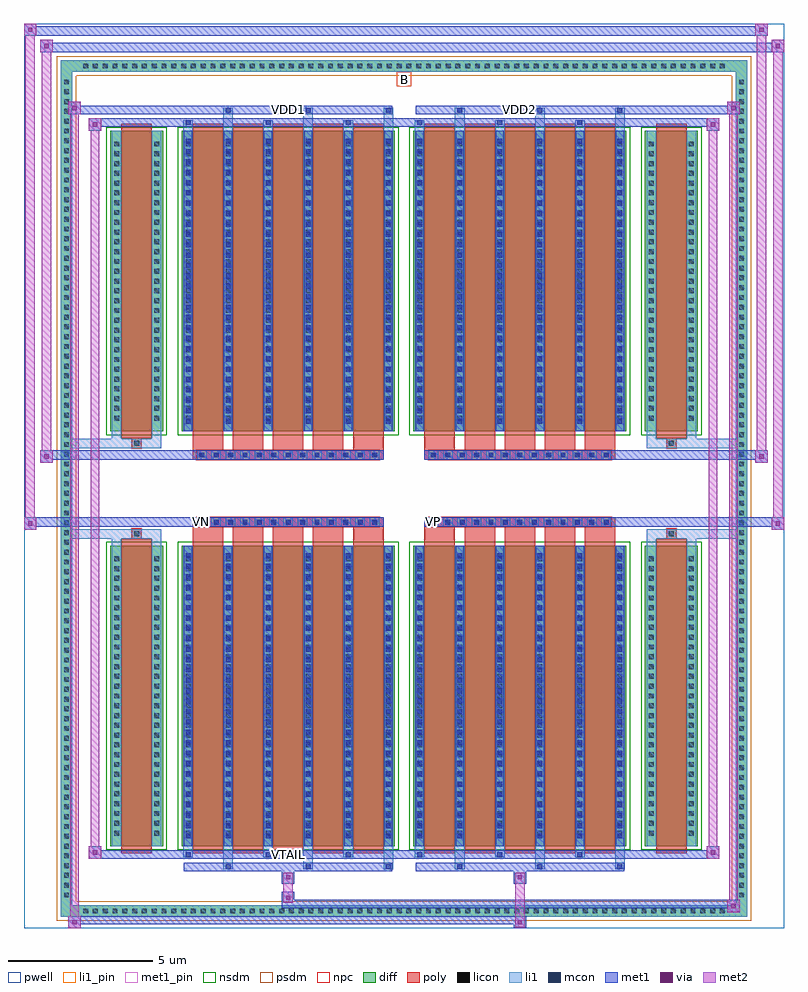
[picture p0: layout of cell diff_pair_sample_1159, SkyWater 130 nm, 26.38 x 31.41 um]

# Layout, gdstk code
import gdstk
lib = gdstk.Library(unit=1e-6, precision=5e-09)
def R(c, l, rs):  # rectangles x0, y0, x1, y1
    for r in rs: c.add(gdstk.rectangle(r[:2], r[2:], *l))
def A(c, l, x, y, w, h, nx, ny, dx, dy):  # array of equal rectangles
    R(c, l, [(x+i*dx, y+j*dy, x+i*dx+w, y+j*dy+h) for i in range(nx) for j in range(ny)])
def P(c, l, *ps):  # polygons
    for p in ps: c.add(gdstk.Polygon(p, *l))
pwell = (64, 44)
diff = (65, 20)
poly = (66, 20)
licon = (66, 44)
li1_pin = (67, 16)
li1 = (67, 20)
mcon = (67, 44)
met1_pin = (68, 16)
met1 = (68, 20)
via = (68, 44)
met2 = (69, 20)
nsdm = (93, 44)
psdm = (94, 20)
npc = (95, 20)

diff_pair_sample_1159 = lib.new_cell('diff_pair_sample_1159')
R(diff_pair_sample_1159, pwell, [(-13.19,-15.27,13.19,16.14), (-10.51,-13.46,-0.01,-0.8), (0.01,-13.46,10.51,-0.8), (-10.51,0.8,-0.01,13.46), (0.01,0.8,10.51,13.46)])
A(diff_pair_sample_1159, diff, -11.255, -14.87, 0.41, 0.41, 66, 2, 0.34, 29.33)
A(diff_pair_sample_1159, diff, -11.92, -14.315, 0.41, 0.41, 1, 84, 0, 0.34)
A(diff_pair_sample_1159, diff, 11.51, -14.315, 0.41, 0.41, 1, 84, 0, 0.34)
R(diff_pair_sample_1159, diff, [(-11.255,-14.87,11.255,-14.46), (-11.92,-14.315,-11.51,14.315), (11.51,-14.315,11.92,14.315), (-10.2,-12.415,-8.36,-1.985), (-7.72,-12.415,-0.32,-1.985), (0.32,-12.415,7.72,-1.985), (8.36,-12.415,10.2,-1.985), (-10.2,1.985,-8.36,12.415), (-7.72,1.985,-0.32,12.415), (0.32,1.985,7.72,12.415), (8.36,1.985,10.2,12.415), (-11.255,14.46,11.255,14.87)])
P(diff_pair_sample_1159, diff, [(11.92,14.87),(-11.92,14.87),(-11.92,-14.46),(-11.51,-14.46),(-11.51,14.46),(11.51,14.46),(11.51,-14.46),(-11.51,-14.46),(-11.92,-14.46),(-11.92,-14.87),(11.92,-14.87)])
A(diff_pair_sample_1159, poly, -7.33, -12.665, 1.06, 10.93, 5, 2, 1.39, 14.4)
A(diff_pair_sample_1159, poly, 0.71, -12.665, 1.06, 10.93, 5, 2, 1.39, 14.4)
A(diff_pair_sample_1159, poly, -7.33, -1.735, 1.06, 0.405, 5, 2, 1.39, 3.065)
A(diff_pair_sample_1159, poly, 0.71, -1.735, 1.06, 0.405, 5, 2, 1.39, 3.065)
A(diff_pair_sample_1159, poly, -7.185, -1.33, 0.33, 0.33, 13, 2, 0.5, 2.33)
A(diff_pair_sample_1159, poly, 0.855, -1.33, 0.33, 0.33, 13, 2, 0.5, 2.33)
R(diff_pair_sample_1159, poly, [(-9.81,-12.665,-8.75,-1.735), (8.75,-12.665,9.81,-1.735), (-9.445,-1.735,-9.115,-1.405), (-9.445,-1.735,-9.115,-1.405), (9.115,-1.735,9.445,-1.405), (9.115,-1.735,9.445,-1.405), (-7.33,-1.33,-0.71,-1), (0.71,-1.33,7.33,-1), (-7.33,1,-0.71,1.33), (0.71,1,7.33,1.33), (-9.445,1.405,-9.115,1.735), (-9.445,1.405,-9.115,1.735), (9.115,1.405,9.445,1.735), (9.115,1.405,9.445,1.735), (-9.81,1.735,-8.75,12.665), (8.75,1.735,9.81,12.665)])
A(diff_pair_sample_1159, licon, -11.135, -14.75, 0.17, 0.17, 66, 2, 0.34, 29.33)
A(diff_pair_sample_1159, licon, -11.8, -14.195, 0.17, 0.17, 1, 84, 0, 0.34)
A(diff_pair_sample_1159, licon, 11.63, -14.195, 0.17, 0.17, 1, 84, 0, 0.34)
A(diff_pair_sample_1159, licon, -10.06, -12.045, 0.17, 0.17, 1, 29, 0, 0.34)
A(diff_pair_sample_1159, licon, -8.67, -12.045, 0.17, 0.17, 1, 29, 0, 0.34)
A(diff_pair_sample_1159, licon, -7.58, -12.045, 0.17, 0.17, 6, 29, 1.39, 0.34)
A(diff_pair_sample_1159, licon, 0.46, -12.045, 0.17, 0.17, 6, 29, 1.39, 0.34)
A(diff_pair_sample_1159, licon, 8.5, -12.045, 0.17, 0.17, 1, 29, 0, 0.34)
A(diff_pair_sample_1159, licon, 9.89, -12.045, 0.17, 0.17, 1, 29, 0, 0.34)
A(diff_pair_sample_1159, licon, -7.105, -1.25, 0.17, 0.17, 13, 2, 0.5, 2.33)
A(diff_pair_sample_1159, licon, 0.935, -1.25, 0.17, 0.17, 13, 2, 0.5, 2.33)
A(diff_pair_sample_1159, licon, -10.06, 2.355, 0.17, 0.17, 1, 29, 0, 0.34)
A(diff_pair_sample_1159, licon, -8.67, 2.355, 0.17, 0.17, 1, 29, 0, 0.34)
A(diff_pair_sample_1159, licon, -7.58, 2.355, 0.17, 0.17, 6, 29, 1.39, 0.34)
A(diff_pair_sample_1159, licon, 0.46, 2.355, 0.17, 0.17, 6, 29, 1.39, 0.34)
A(diff_pair_sample_1159, licon, 8.5, 2.355, 0.17, 0.17, 1, 29, 0, 0.34)
A(diff_pair_sample_1159, licon, 9.89, 2.355, 0.17, 0.17, 1, 29, 0, 0.34)
R(diff_pair_sample_1159, licon, [(-9.365,-1.655,-9.195,-1.485), (9.195,-1.655,9.365,-1.485), (-9.365,1.485,-9.195,1.655), (9.195,1.485,9.365,1.655)])
R(diff_pair_sample_1159, li1_pin, [(-0.25,13.96,0.25,14.46)])
A(diff_pair_sample_1159, li1, -11.215, -14.83, 0.33, 0.33, 66, 2, 0.34, 29.33)
A(diff_pair_sample_1159, li1, -11.88, -14.275, 0.33, 0.33, 1, 84, 0, 0.34)
A(diff_pair_sample_1159, li1, 11.55, -14.275, 0.33, 0.33, 1, 84, 0, 0.34)
A(diff_pair_sample_1159, li1, -6.27, -13.22, 0.33, 0.805, 3, 2, 2.78, 25.635)
A(diff_pair_sample_1159, li1, -6.19, -13.22, 0.17, 0.17, 3, 2, 2.78, 26.27)
A(diff_pair_sample_1159, li1, 1.77, -13.22, 0.33, 0.805, 3, 2, 2.78, 25.635)
A(diff_pair_sample_1159, li1, 1.85, -13.22, 0.17, 0.17, 3, 2, 2.78, 26.27)
A(diff_pair_sample_1159, li1, -7.66, -12.79, 0.33, 0.375, 3, 2, 2.78, 25.205)
A(diff_pair_sample_1159, li1, -7.58, -12.79, 0.17, 0.17, 3, 2, 2.78, 25.41)
A(diff_pair_sample_1159, li1, 0.38, -12.79, 0.33, 0.375, 3, 2, 2.78, 25.205)
A(diff_pair_sample_1159, li1, 0.46, -12.79, 0.17, 0.17, 3, 2, 2.78, 25.41)
A(diff_pair_sample_1159, li1, -7.66, -12.415, 0.33, 10.43, 6, 2, 1.39, 14.4)
A(diff_pair_sample_1159, li1, 0.38, -12.415, 0.33, 10.43, 6, 2, 1.39, 14.4)
A(diff_pair_sample_1159, li1, -7.58, -12.145, 0.17, 0.17, 6, 28, 1.39, 0.36)
A(diff_pair_sample_1159, li1, -7.58, -12.145, 0.17, 9.89, 6, 2, 1.39, 14.4)
A(diff_pair_sample_1159, li1, 0.46, -12.145, 0.17, 0.17, 6, 28, 1.39, 0.36)
A(diff_pair_sample_1159, li1, 0.46, -12.145, 0.17, 9.89, 6, 2, 1.39, 14.4)
A(diff_pair_sample_1159, li1, -10.14, -12.125, 0.33, 0.33, 1, 29, 0, 0.34)
A(diff_pair_sample_1159, li1, -8.75, -12.125, 0.33, 0.33, 1, 29, 0, 0.34)
A(diff_pair_sample_1159, li1, -7.66, -12.125, 0.33, 0.33, 6, 29, 1.39, 0.34)
A(diff_pair_sample_1159, li1, 0.38, -12.125, 0.33, 0.33, 6, 29, 1.39, 0.34)
A(diff_pair_sample_1159, li1, 8.42, -12.125, 0.33, 0.33, 1, 29, 0, 0.34)
A(diff_pair_sample_1159, li1, 9.81, -12.125, 0.33, 0.33, 1, 29, 0, 0.34)
A(diff_pair_sample_1159, li1, -7.185, -1.33, 0.33, 0.33, 13, 2, 0.5, 2.33)
A(diff_pair_sample_1159, li1, 0.855, -1.33, 0.33, 0.33, 13, 2, 0.5, 2.33)
A(diff_pair_sample_1159, li1, -7.58, 2.255, 0.17, 0.17, 6, 28, 1.39, 0.36)
A(diff_pair_sample_1159, li1, 0.46, 2.255, 0.17, 0.17, 6, 28, 1.39, 0.36)
A(diff_pair_sample_1159, li1, -10.14, 2.275, 0.33, 0.33, 1, 29, 0, 0.34)
A(diff_pair_sample_1159, li1, -8.75, 2.275, 0.33, 0.33, 1, 29, 0, 0.34)
A(diff_pair_sample_1159, li1, -7.66, 2.275, 0.33, 0.33, 6, 29, 1.39, 0.34)
A(diff_pair_sample_1159, li1, 0.38, 2.275, 0.33, 0.33, 6, 29, 1.39, 0.34)
A(diff_pair_sample_1159, li1, 8.42, 2.275, 0.33, 0.33, 1, 29, 0, 0.34)
A(diff_pair_sample_1159, li1, 9.81, 2.275, 0.33, 0.33, 1, 29, 0, 0.34)
R(diff_pair_sample_1159, li1, [(-11.92,-14.87,-11.51,-14.46), (-11.92,-14.87,-11.51,-14.46), (-11.51,-14.87,11.51,-14.46), (11.51,-14.87,11.92,-14.46), (11.51,-14.87,11.92,-14.46), (-11.92,-14.46,-11.51,14.46), (11.51,-14.46,11.92,14.46), (-10.14,-12.415,-9.81,-1.985), (-8.75,-12.415,-8.42,-1.985), (8.42,-12.415,8.75,-1.985), (9.81,-12.415,10.14,-1.985), (-10.14,-1.985,-9.81,-1.405), (-8.75,-1.985,-8.42,-1.405), (8.42,-1.985,8.75,-1.405), (9.81,-1.985,10.14,-1.405), (-11.92,-1.735,-9.445,-1.405), (-10.14,-1.735,-9.445,-1.405), (-9.445,-1.735,-9.115,-1.405), (-9.115,-1.735,-8.42,-1.405), (8.42,-1.735,9.115,-1.405), (9.115,-1.735,9.445,-1.405), (9.115,-1.735,11.92,-1.405), (9.445,-1.735,10.14,-1.405), (-11.92,1.405,-9.445,1.735), (-10.14,1.405,-9.445,1.735), (-10.14,1.405,-9.81,1.985), (-9.445,1.405,-9.115,1.735), (-9.115,1.405,-8.42,1.735), (-8.75,1.405,-8.42,1.985), (8.42,1.405,9.115,1.735), (8.42,1.405,8.75,1.985), (9.115,1.405,9.445,1.735), (9.115,1.405,11.92,1.735), (9.445,1.405,10.14,1.735), (9.81,1.405,10.14,1.985), (-10.14,1.985,-9.81,12.415), (-8.75,1.985,-8.42,12.415), (8.42,1.985,8.75,12.415), (9.81,1.985,10.14,12.415), (-11.92,14.46,-11.51,14.87), (-11.92,14.46,-11.51,14.87), (-11.51,14.46,11.51,14.87), (11.51,14.46,11.92,14.87), (11.51,14.46,11.92,14.87)])
A(diff_pair_sample_1159, mcon, -6.19, -13.22, 0.17, 0.17, 3, 2, 2.78, 26.27)
A(diff_pair_sample_1159, mcon, 1.85, -13.22, 0.17, 0.17, 3, 2, 2.78, 26.27)
A(diff_pair_sample_1159, mcon, -7.58, -12.79, 0.17, 0.17, 3, 2, 2.78, 25.41)
A(diff_pair_sample_1159, mcon, 0.46, -12.79, 0.17, 0.17, 3, 2, 2.78, 25.41)
A(diff_pair_sample_1159, mcon, -7.58, -12.145, 0.17, 0.17, 6, 28, 1.39, 0.36)
A(diff_pair_sample_1159, mcon, 0.46, -12.145, 0.17, 0.17, 6, 28, 1.39, 0.36)
A(diff_pair_sample_1159, mcon, -7.105, -1.25, 0.17, 0.17, 13, 2, 0.5, 2.33)
A(diff_pair_sample_1159, mcon, 0.935, -1.25, 0.17, 0.17, 13, 2, 0.5, 2.33)
A(diff_pair_sample_1159, mcon, -7.58, 2.255, 0.17, 0.17, 6, 28, 1.39, 0.36)
A(diff_pair_sample_1159, mcon, 0.46, 2.255, 0.17, 0.17, 6, 28, 1.39, 0.36)
R(diff_pair_sample_1159, met1_pin, [(-4.155,-12.83,-3.885,-12.56), (-7.155,-1.29,-6.885,-1.02), (0.885,-1.29,1.155,-1.02), (-4.155,13.01,-3.885,13.28), (3.885,13.01,4.155,13.28)])
A(diff_pair_sample_1159, met1, -6.25, -13.28, 0.29, 0.29, 3, 2, 2.78, 26.27)
A(diff_pair_sample_1159, met1, 1.79, -13.28, 0.29, 0.29, 3, 2, 2.78, 26.27)
A(diff_pair_sample_1159, met1, -7.64, -12.85, 0.29, 0.29, 3, 2, 2.78, 25.41)
A(diff_pair_sample_1159, met1, 0.4, -12.85, 0.29, 0.29, 3, 2, 2.78, 25.41)
A(diff_pair_sample_1159, met1, -7.64, -12.415, 0.29, 10.43, 6, 2, 1.39, 14.4)
A(diff_pair_sample_1159, met1, 0.4, -12.415, 0.29, 10.43, 6, 2, 1.39, 14.4)
A(diff_pair_sample_1159, met1, -7.64, -12.205, 0.29, 0.29, 6, 28, 1.39, 0.36)
A(diff_pair_sample_1159, met1, 0.4, -12.205, 0.29, 0.29, 6, 28, 1.39, 0.36)
A(diff_pair_sample_1159, met1, -7.165, -1.31, 0.29, 0.29, 13, 2, 0.5, 2.33)
A(diff_pair_sample_1159, met1, 0.875, -1.31, 0.29, 0.29, 13, 2, 0.5, 2.33)
A(diff_pair_sample_1159, met1, -7.64, 2.195, 0.29, 0.29, 6, 28, 1.39, 0.36)
A(diff_pair_sample_1159, met1, 0.4, 2.195, 0.29, 0.29, 6, 28, 1.39, 0.36)
R(diff_pair_sample_1159, met1, [(-11.65,-15.27,-11.22,-14.84), (3.805,-15.27,4.235,-14.84), (-11.65,-15.13,4.235,-14.84), (11.22,-14.7,11.65,-14.27), (-4.235,-14.56,11.65,-14.27), (-4.235,-14.42,-3.805,-13.99), (-4.235,-13.71,-3.805,-13.28), (3.805,-13.71,4.235,-13.28), (-7.64,-13.28,-0.4,-12.99), (0.4,-13.28,7.64,-12.99), (-10.94,-12.85,-10.51,-12.42), (-10.94,-12.85,-7.64,-12.56), (-7.64,-12.85,-0.4,-12.56), (-0.4,-12.85,0.4,-12.56), (0.4,-12.85,7.64,-12.56), (7.64,-12.85,10.94,-12.56), (10.51,-12.85,10.94,-12.42), (-13.19,-1.43,-12.76,-1), (12.76,-1.43,13.19,-1), (-13.19,-1.33,-0.71,-1), (-7.33,-1.33,-0.71,-1), (0.71,-1.33,7.33,-1), (0.71,-1.33,13.19,-1), (-12.62,0.9,-12.19,1.33), (12.19,0.9,12.62,1.33), (-12.62,1,-7.33,1.33), (-7.33,1,-0.71,1.33), (0.71,1,7.33,1.33), (7.33,1,12.62,1.33), (-10.94,12.42,-10.51,12.85), (10.51,12.42,10.94,12.85), (-10.94,12.56,-7.64,12.85), (-7.64,12.56,-0.4,12.85), (-0.4,12.56,0.4,12.85), (0.4,12.56,7.64,12.85), (7.64,12.56,10.94,12.85), (-11.65,12.99,-11.22,13.42), (-11.65,12.99,-7.64,13.28), (-7.64,12.99,-0.4,13.28), (0.4,12.99,7.64,13.28), (7.64,12.99,11.65,13.28), (11.22,12.99,11.65,13.42), (-12.62,15.14,-12.19,15.57), (-12.62,15.14,-10.51,15.47), (-10.51,15.14,10.51,15.47), (10.51,15.14,13.19,15.47), (12.76,15.14,13.19,15.57), (-13.19,15.71,-12.76,16.14), (-13.19,15.71,-10.51,16.04), (-10.51,15.71,10.51,16.04), (10.51,15.71,12.62,16.04), (12.19,15.71,12.62,16.14)])
R(diff_pair_sample_1159, via, [(-11.51,-15.13,-11.36,-14.98), (3.945,-15.13,4.095,-14.98), (11.36,-14.56,11.51,-14.41), (-4.095,-14.28,-3.945,-14.13), (-4.095,-13.57,-3.945,-13.42), (3.945,-13.57,4.095,-13.42), (-10.8,-12.71,-10.65,-12.56), (10.65,-12.71,10.8,-12.56), (-13.05,-1.29,-12.9,-1.14), (12.9,-1.29,13.05,-1.14), (-12.48,1.04,-12.33,1.19), (12.33,1.04,12.48,1.19), (-10.8,12.56,-10.65,12.71), (10.65,12.56,10.8,12.71), (-11.51,13.13,-11.36,13.28), (11.36,13.13,11.51,13.28), (-12.48,15.28,-12.33,15.43), (12.9,15.28,13.05,15.43), (-13.05,15.85,-12.9,16), (12.33,15.85,12.48,16)])
R(diff_pair_sample_1159, met2, [(-11.65,-15.27,-11.22,-14.84), (-11.58,-15.27,-11.29,13.42), (-11.29,-15.27,-11.22,-14.84), (-11.6,-15.22,-11.27,-14.89), (3.855,-15.22,4.185,-14.89), (3.855,-14.89,4.185,-13.66), (11.22,-14.7,11.65,-14.27), (11.29,-14.7,11.58,13.42), (11.58,-14.7,11.65,-14.27), (11.27,-14.65,11.6,-14.32), (-4.185,-14.37,-3.855,-14.04), (-4.185,-14.04,-3.855,-13.66), (-4.185,-13.66,-3.855,-13.33), (3.855,-13.66,4.185,-13.33), (-10.94,-12.85,-10.51,-12.42), (-10.87,-12.85,-10.58,12.85), (-10.58,-12.85,-10.51,-12.42), (10.51,-12.85,10.94,-12.42), (10.58,-12.85,10.87,12.85), (10.87,-12.85,10.94,-12.42), (-10.89,-12.8,-10.56,-12.47), (10.56,-12.8,10.89,-12.47), (-13.19,-1.43,-12.76,-1), (-13.14,-1.43,-12.81,16.14), (-12.81,-1.43,-12.76,-1), (12.76,-1.43,13.19,-1), (12.81,-1.43,13.14,15.57), (13.14,-1.43,13.19,-1), (-13.14,-1.38,-12.81,-1.05), (12.81,-1.38,13.14,-1.05), (-12.62,0.9,-12.19,1.33), (-12.57,0.9,-12.24,15.57), (-12.24,0.9,-12.19,1.33), (12.19,0.9,12.62,1.33), (12.24,0.9,12.57,16.14), (12.57,0.9,12.62,1.33), (-12.57,0.95,-12.24,1.28), (12.24,0.95,12.57,1.28), (-10.94,12.42,-10.51,12.85), (-10.58,12.42,-10.51,12.85), (10.51,12.42,10.94,12.85), (10.87,12.42,10.94,12.85), (-10.89,12.47,-10.56,12.8), (10.56,12.47,10.89,12.8), (-11.65,12.99,-11.22,13.42), (-11.29,12.99,-11.22,13.42), (11.22,12.99,11.65,13.42), (11.58,12.99,11.65,13.42), (-11.6,13.04,-11.27,13.37), (11.27,13.04,11.6,13.37), (-12.62,15.14,-12.19,15.57), (-12.24,15.14,-12.19,15.57), (12.76,15.14,13.19,15.57), (13.14,15.14,13.19,15.57), (-12.57,15.19,-12.24,15.52), (12.81,15.19,13.14,15.52), (-13.19,15.71,-12.76,16.14), (-12.81,15.71,-12.76,16.14), (12.19,15.71,12.62,16.14), (12.57,15.71,12.62,16.14), (-13.14,15.76,-12.81,16.09), (12.24,15.76,12.57,16.09)])
R(diff_pair_sample_1159, nsdm, [(-10.33,-12.545,-8.23,-1.855), (-7.85,-12.545,-0.19,-1.855), (0.19,-12.545,7.85,-1.855), (8.23,-12.545,10.33,-1.855), (-10.33,1.855,-8.23,12.545), (-7.85,1.855,-0.19,12.545), (0.19,1.855,7.85,12.545), (8.23,1.855,10.33,12.545)])
P(diff_pair_sample_1159, psdm, [(12.05,15),(-12.05,15),(-12.05,-14.33),(-11.38,-14.33),(-11.38,14.33),(11.38,14.33),(11.38,-14.33),(-11.38,-14.33),(-12.05,-14.33),(-12.05,-15),(12.05,-15)])
A(diff_pair_sample_1159, npc, -7.205, -1.35, 0.37, 0.37, 13, 2, 0.5, 2.33)
A(diff_pair_sample_1159, npc, 0.835, -1.35, 0.37, 0.37, 13, 2, 0.5, 2.33)
R(diff_pair_sample_1159, npc, [(-9.465,-1.755,-9.095,-1.385), (9.095,-1.755,9.465,-1.385), (-7.205,-1.35,-6.335,-0.98), (-7.205,-1.35,-6.335,-0.98), (-6.705,-1.35,-5.835,-0.98), (-6.705,-1.35,-5.835,-0.98), (-6.205,-1.35,-5.335,-0.98), (-6.205,-1.35,-5.335,-0.98), (-5.705,-1.35,-4.835,-0.98), (-5.705,-1.35,-4.835,-0.98), (-5.205,-1.35,-4.335,-0.98), (-5.205,-1.35,-4.335,-0.98), (-4.705,-1.35,-3.835,-0.98), (-4.705,-1.35,-3.835,-0.98), (-4.205,-1.35,-3.335,-0.98), (-4.205,-1.35,-3.335,-0.98), (-3.705,-1.35,-2.835,-0.98), (-3.705,-1.35,-2.835,-0.98), (-3.205,-1.35,-2.335,-0.98), (-3.205,-1.35,-2.335,-0.98), (-2.705,-1.35,-1.835,-0.98), (-2.705,-1.35,-1.835,-0.98), (-2.205,-1.35,-1.335,-0.98), (-2.205,-1.35,-1.335,-0.98), (-1.705,-1.35,-0.835,-0.98), (-1.705,-1.35,-0.835,-0.98), (0.835,-1.35,1.705,-0.98), (0.835,-1.35,1.705,-0.98), (1.335,-1.35,2.205,-0.98), (1.335,-1.35,2.205,-0.98), (1.835,-1.35,2.705,-0.98), (1.835,-1.35,2.705,-0.98), (2.335,-1.35,3.205,-0.98), (2.335,-1.35,3.205,-0.98), (2.835,-1.35,3.705,-0.98), (2.835,-1.35,3.705,-0.98), (3.335,-1.35,4.205,-0.98), (3.335,-1.35,4.205,-0.98), (3.835,-1.35,4.705,-0.98), (3.835,-1.35,4.705,-0.98), (4.335,-1.35,5.205,-0.98), (4.335,-1.35,5.205,-0.98), (4.835,-1.35,5.705,-0.98), (4.835,-1.35,5.705,-0.98), (5.335,-1.35,6.205,-0.98), (5.335,-1.35,6.205,-0.98), (5.835,-1.35,6.705,-0.98), (5.835,-1.35,6.705,-0.98), (6.335,-1.35,7.205,-0.98), (6.335,-1.35,7.205,-0.98), (-7.205,0.98,-6.335,1.35), (-7.205,0.98,-6.335,1.35), (-6.705,0.98,-5.835,1.35), (-6.705,0.98,-5.835,1.35), (-6.205,0.98,-5.335,1.35), (-6.205,0.98,-5.335,1.35), (-5.705,0.98,-4.835,1.35), (-5.705,0.98,-4.835,1.35), (-5.205,0.98,-4.335,1.35), (-5.205,0.98,-4.335,1.35), (-4.705,0.98,-3.835,1.35), (-4.705,0.98,-3.835,1.35), (-4.205,0.98,-3.335,1.35), (-4.205,0.98,-3.335,1.35), (-3.705,0.98,-2.835,1.35), (-3.705,0.98,-2.835,1.35), (-3.205,0.98,-2.335,1.35), (-3.205,0.98,-2.335,1.35), (-2.705,0.98,-1.835,1.35), (-2.705,0.98,-1.835,1.35), (-2.205,0.98,-1.335,1.35), (-2.205,0.98,-1.335,1.35), (-1.705,0.98,-0.835,1.35), (-1.705,0.98,-0.835,1.35), (0.835,0.98,1.705,1.35), (0.835,0.98,1.705,1.35), (1.335,0.98,2.205,1.35), (1.335,0.98,2.205,1.35), (1.835,0.98,2.705,1.35), (1.835,0.98,2.705,1.35), (2.335,0.98,3.205,1.35), (2.335,0.98,3.205,1.35), (2.835,0.98,3.705,1.35), (2.835,0.98,3.705,1.35), (3.335,0.98,4.205,1.35), (3.335,0.98,4.205,1.35), (3.835,0.98,4.705,1.35), (3.835,0.98,4.705,1.35), (4.335,0.98,5.205,1.35), (4.335,0.98,5.205,1.35), (4.835,0.98,5.705,1.35), (4.835,0.98,5.705,1.35), (5.335,0.98,6.205,1.35), (5.335,0.98,6.205,1.35), (5.835,0.98,6.705,1.35), (5.835,0.98,6.705,1.35), (6.335,0.98,7.205,1.35), (6.335,0.98,7.205,1.35), (-9.465,1.385,-9.095,1.755), (9.095,1.385,9.465,1.755)])
diff_pair_sample_1159.add(gdstk.Label('VTAIL', (-4.02,-12.695), layer=68, texttype=5))
diff_pair_sample_1159.add(gdstk.Label('VN', (-7.02,-1.155), layer=68, texttype=5))
diff_pair_sample_1159.add(gdstk.Label('VP', (1.02,-1.155), layer=68, texttype=5))
diff_pair_sample_1159.add(gdstk.Label('B', (0,14.21), layer=67, texttype=5))
diff_pair_sample_1159.add(gdstk.Label('VDD2', (4.02,13.145), layer=68, texttype=5))
diff_pair_sample_1159.add(gdstk.Label('VDD1', (-4.02,13.145), layer=68, texttype=5))

lib.write_gds('diff_pair_sample_1159.gds')
